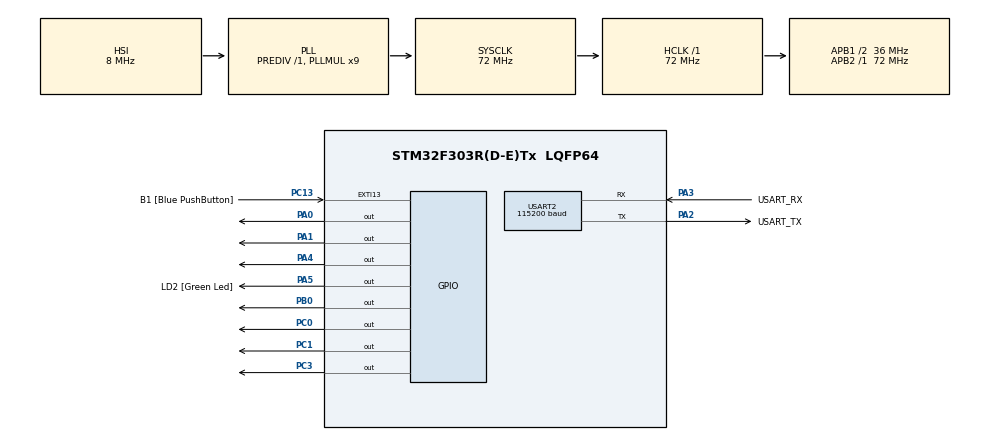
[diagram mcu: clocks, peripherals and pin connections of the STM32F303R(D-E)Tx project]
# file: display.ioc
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Mcu.Family=STM32F3
Mcu.Name=STM32F303R(D-E)Tx
Mcu.Package=LQFP64
NVIC.PriorityGroup=NVIC_PRIORITYGROUP_0
PA0.Signal=GPIO_Output
PA1.Signal=GPIO_Output
PA13.GPIO_Label=TMS
PA13.Mode=Serial_Wire
PA13.Signal=SYS_JTMS-SWDIO
PA14.GPIO_Label=TCK
PA14.Mode=Serial_Wire
PA14.Signal=SYS_JTCK-SWCLK
PA2.GPIO_Label=USART_TX
PA2.GPIO_Mode=GPIO_MODE_AF_PP
PA2.GPIO_PuPd=GPIO_NOPULL
PA2.GPIO_Speed=GPIO_SPEED_FREQ_LOW
PA2.Mode=Asynchronous
PA2.Signal=USART2_TX
PA3.GPIO_Label=USART_RX
PA3.GPIO_Mode=GPIO_MODE_AF_PP
PA3.GPIO_PuPd=GPIO_NOPULL
PA3.GPIO_Speed=GPIO_SPEED_FREQ_LOW
PA3.Mode=Asynchronous
PA3.Signal=USART2_RX
PA4.Signal=GPIO_Output
PA5.GPIO_Label=LD2 [Green Led]
PA5.GPIO_Mode=GPIO_MODE_OUTPUT_PP
PA5.GPIO_PuPd=GPIO_NOPULL
PA5.GPIO_Speed=GPIO_SPEED_FREQ_LOW
PA5.Signal=GPIO_Output
PB0.Signal=GPIO_Output
PB3.GPIO_Label=SWO
PB3.Signal=SYS_JTDO-TRACESWO
PC0.Signal=GPIO_Output
PC1.Signal=GPIO_Output
PC13.GPIO_Label=B1 [Blue PushButton]
PC13.GPIO_ModeDefaultEXTI=GPIO_MODE_IT_FALLING
PC13.Signal=GPXTI13
PC14-OSC32_IN.Mode=LSE-External-Oscillator
PC14-OSC32_IN.Signal=RCC_OSC32_IN
PC15-OSC32_OUT.Mode=LSE-External-Oscillator
PC15-OSC32_OUT.Signal=RCC_OSC32_OUT
PC3.Signal=GPIO_Output
PF0-OSC_IN.Mode=HSE-External-Clock-Source
PF0-OSC_IN.Signal=RCC_OSC_IN
PF1-OSC_OUT.Signal=RCC_OSC_OUT
ProjectManager.HeapSize=0x200
ProjectManager.StackSize=0x400
ProjectManager.TargetToolchain=STM32CubeIDE
RCC.AHBFreq_Value=72000000
RCC.APB1CLKDivider=RCC_HCLK_DIV2
RCC.APB1Freq_Value=36000000
RCC.APB1TimFreq_Value=72000000
RCC.APB2Freq_Value=72000000
RCC.APB2TimFreq_Value=72000000
RCC.CortexFreq_Value=72000000
RCC.HCLKFreq_Value=72000000
RCC.HSE_VALUE=8000000
RCC.HSI_VALUE=8000000
RCC.PLLM=8
RCC.PLLMUL=RCC_PLL_MUL9
RCC.PLLN=336
RCC.PLLP=RCC_PLLP_DIV4
RCC.PLLQ=7
RCC.RCC_PLLsource_Clock_Source_FROM_HSE=RCC_HSE_PREDIV_DIV2
RCC.SYSCLKFreq_VALUE=72000000
RCC.SYSCLKSourceVirtual=RCC_SYSCLKSOURCE_PLLCLK
RCC.USBFreq_Value=72000000
USART2.BaudRate=115200
USART2.VirtualMode-Asynchronous=VM_ASYNC
board=NUCLEO-F303RE

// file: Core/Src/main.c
/* USER CODE BEGIN Header */
/**
  ******************************************************************************
  * @file           : main.c
  * @brief          : Main program body
  ******************************************************************************
  * @attention
  *
  * Copyright (c) 2025 STMicroelectronics.
  * All rights reserved.
  *
  * This software is licensed under terms that can be found in the LICENSE file
  * in the root directory of this software component.
  * If no LICENSE file comes with this software, it is provided AS-IS.
  *
  ******************************************************************************
  */
/* USER CODE END Header */
#include "main.h"

/* USER CODE BEGIN Includes */
#include <string.h>
#include <stdio.h>
/* USER CODE END Includes */

/* USER CODE BEGIN PD */
// LCD command definitions:

// commands
#define LCD_CLEARDISPLAY	0x01
#define LCD_RETURNHOME		0x02
#define LCD_ENTRYMODESET	0x04
#define LCD_DISPLAYCONTROL	0x08
#define LCD_CURSORSHIFT		0x10
#define LCD_FUNCTIONSET		0x20
#define LCD_SETCGRAMADDR	0x40
#define LCD_SETDDRAMADDR	0x80

// flags for display entry mode
#define LCD_ENTRYRIGHT		0x00
#define LCD_ENTRYLEFT		0x02
#define LCD_ENTRYSHIFTINCREMENT 0x01
#define LCD_ENTRYSHIFTDECREMENT 0x00

// flags for display on/off control
#define LCD_DISPLAYON		0x04
#define LCD_DISPLAYOFF		0x00
#define LCD_CURSORON		0x02
#define LCD_CURSOROFF		0x00
#define LCD_BLINKON			0x01
#define LCD_BLINKOFF		0x00

// flags for display/cursor shift
#define LCD_DISPLAYMOVE		0x08
#define LCD_CURSORMOVE		0x00
#define LCD_MOVERIGHT		0x04
#define LCD_MOVELEFT		0x00

// flags for function set
#define LCD_8BITMODE		0x10
#define LCD_4BITMODE		0x00
#define LCD_2LINE			0x08
#define LCD_1LINE			0x00
#define LCD_5x10DOTS		0x04
#define LCD_5x8DOTS			0x00

#define NUMROWS				2
#define NUMCOLS				16

#define RS_PORT GPIOC
#define RS_PIN GPIO_PIN_0
#define RW_PORT GPIOC
#define RW_PIN GPIO_PIN_3
#define EN_PORT GPIOC
#define EN_PIN GPIO_PIN_1
#define D4_PORT GPIOB
#define D4_PIN GPIO_PIN_0
#define D5_PORT GPIOA
#define D5_PIN GPIO_PIN_4
#define D6_PORT GPIOA
#define D6_PIN GPIO_PIN_1
#define D7_PORT GPIOA
#define D7_PIN GPIO_PIN_0
/* USER CODE END PD */

UART_HandleTypeDef huart2;

void SystemClock_Config(void);
static void MX_GPIO_Init(void);
static void MX_USART2_UART_Init(void);
/* USER CODE BEGIN PFP */
void send_to_lcd (char data, int rs);
void lcd_send_cmd (char cmd);
void lcd_send_data (char data);
void lcd_put_cur(int row, int col);
void lcd_init (void);
void lcd_send_string (char *str);
/* USER CODE END PFP */

int main(void)
{

  /* MCU Configuration--------------------------------------------------------*/

  /* Reset of all peripherals, Initializes the Flash interface and the Systick. */
  HAL_Init();

  /* Configure the system clock */
  SystemClock_Config();

  /* Initialize all configured peripherals */
  MX_GPIO_Init();
  MX_USART2_UART_Init();
  /* USER CODE BEGIN 2 */
  HAL_GPIO_WritePin(RW_PORT, RW_PIN, GPIO_PIN_RESET);
  lcd_init();
  lcd_put_cur(0, 0);
  lcd_send_string("FAST GmbH");
  HAL_Delay(2000);
  lcd_put_cur(1, 0);
  lcd_send_string("Aqua M60 Testing");
  /* USER CODE END 2 */

  /* Infinite loop */
  while (1)
  {

    /* USER CODE BEGIN 3 */
	  HAL_GPIO_TogglePin(LD2_GPIO_Port, LD2_Pin);
	  HAL_Delay(500);

  }
  /* USER CODE END 3 */
}

void SystemClock_Config(void)
{
  RCC_OscInitTypeDef RCC_OscInitStruct = {0};
  RCC_ClkInitTypeDef RCC_ClkInitStruct = {0};
  RCC_PeriphCLKInitTypeDef PeriphClkInit = {0};

  /** Initializes the RCC Oscillators according to the specified parameters
  * in the RCC_OscInitTypeDef structure.
  */
  RCC_OscInitStruct.OscillatorType = RCC_OSCILLATORTYPE_HSI;
  RCC_OscInitStruct.HSIState = RCC_HSI_ON;
  RCC_OscInitStruct.HSICalibrationValue = RCC_HSICALIBRATION_DEFAULT;
  RCC_OscInitStruct.PLL.PLLState = RCC_PLL_ON;
  RCC_OscInitStruct.PLL.PLLSource = RCC_PLLSOURCE_HSI;
  RCC_OscInitStruct.PLL.PLLMUL = RCC_PLL_MUL9;
  RCC_OscInitStruct.PLL.PREDIV = RCC_PREDIV_DIV1;
  if (HAL_RCC_OscConfig(&RCC_OscInitStruct) != HAL_OK)
  {
    Error_Handler();
  }

  /** Initializes the CPU, AHB and APB buses clocks
  */
  RCC_ClkInitStruct.ClockType = RCC_CLOCKTYPE_HCLK|RCC_CLOCKTYPE_SYSCLK
                              |RCC_CLOCKTYPE_PCLK1|RCC_CLOCKTYPE_PCLK2;
  RCC_ClkInitStruct.SYSCLKSource = RCC_SYSCLKSOURCE_PLLCLK;
  RCC_ClkInitStruct.AHBCLKDivider = RCC_SYSCLK_DIV1;
  RCC_ClkInitStruct.APB1CLKDivider = RCC_HCLK_DIV2;
  RCC_ClkInitStruct.APB2CLKDivider = RCC_HCLK_DIV1;

  if (HAL_RCC_ClockConfig(&RCC_ClkInitStruct, FLASH_LATENCY_2) != HAL_OK)
  {
    Error_Handler();
  }
  PeriphClkInit.PeriphClockSelection = RCC_PERIPHCLK_USART2;
  PeriphClkInit.Usart2ClockSelection = RCC_USART2CLKSOURCE_PCLK1;
  if (HAL_RCCEx_PeriphCLKConfig(&PeriphClkInit) != HAL_OK)
  {
    Error_Handler();
  }
}

static void MX_USART2_UART_Init(void)
{

  huart2.Instance = USART2;
  huart2.Init.BaudRate = 115200;
  huart2.Init.WordLength = UART_WORDLENGTH_8B;
  huart2.Init.StopBits = UART_STOPBITS_1;
  huart2.Init.Parity = UART_PARITY_NONE;
  huart2.Init.Mode = UART_MODE_TX_RX;
  huart2.Init.HwFlowCtl = UART_HWCONTROL_NONE;
  huart2.Init.OverSampling = UART_OVERSAMPLING_16;
  huart2.Init.OneBitSampling = UART_ONE_BIT_SAMPLE_DISABLE;
  huart2.AdvancedInit.AdvFeatureInit = UART_ADVFEATURE_NO_INIT;
  if (HAL_UART_Init(&huart2) != HAL_OK)
  {
    Error_Handler();
  }

}

static void MX_GPIO_Init(void)
{
  GPIO_InitTypeDef GPIO_InitStruct = {0};

  /* GPIO Ports Clock Enable */
  __HAL_RCC_GPIOC_CLK_ENABLE();
  __HAL_RCC_GPIOF_CLK_ENABLE();
  __HAL_RCC_GPIOA_CLK_ENABLE();
  __HAL_RCC_GPIOB_CLK_ENABLE();

  /*Configure GPIO pin Output Level */
  HAL_GPIO_WritePin(GPIOC, GPIO_PIN_0|GPIO_PIN_1|GPIO_PIN_3, GPIO_PIN_RESET);

  /*Configure GPIO pin Output Level */
  HAL_GPIO_WritePin(GPIOA, GPIO_PIN_0|GPIO_PIN_1|GPIO_PIN_4|LD2_Pin, GPIO_PIN_RESET);

  /*Configure GPIO pin Output Level */
  HAL_GPIO_WritePin(GPIOB, GPIO_PIN_0, GPIO_PIN_RESET);

  /*Configure GPIO pin : B1_Pin */
  GPIO_InitStruct.Pin = B1_Pin;
  GPIO_InitStruct.Mode = GPIO_MODE_IT_FALLING;
  GPIO_InitStruct.Pull = GPIO_NOPULL;
  HAL_GPIO_Init(B1_GPIO_Port, &GPIO_InitStruct);

  /*Configure GPIO pins : PC0 PC1 PC3 */
  GPIO_InitStruct.Pin = GPIO_PIN_0|GPIO_PIN_1|GPIO_PIN_3;
  GPIO_InitStruct.Mode = GPIO_MODE_OUTPUT_PP;
  GPIO_InitStruct.Pull = GPIO_NOPULL;
  GPIO_InitStruct.Speed = GPIO_SPEED_FREQ_LOW;
  HAL_GPIO_Init(GPIOC, &GPIO_InitStruct);

  /*Configure GPIO pins : PA0 PA1 PA4 LD2_Pin */
  GPIO_InitStruct.Pin = GPIO_PIN_0|GPIO_PIN_1|GPIO_PIN_4|LD2_Pin;
  GPIO_InitStruct.Mode = GPIO_MODE_OUTPUT_PP;
  GPIO_InitStruct.Pull = GPIO_NOPULL;
  GPIO_InitStruct.Speed = GPIO_SPEED_FREQ_LOW;
  HAL_GPIO_Init(GPIOA, &GPIO_InitStruct);

  /*Configure GPIO pin : PB0 */
  GPIO_InitStruct.Pin = GPIO_PIN_0;
  GPIO_InitStruct.Mode = GPIO_MODE_OUTPUT_PP;
  GPIO_InitStruct.Pull = GPIO_NOPULL;
  GPIO_InitStruct.Speed = GPIO_SPEED_FREQ_LOW;
  HAL_GPIO_Init(GPIOB, &GPIO_InitStruct);

}

/* USER CODE BEGIN 4 */
void send_to_lcd (char data, int rs)
{
    HAL_GPIO_WritePin(RS_PORT, RS_PIN, rs);  // rs = 1 for data, rs=0 for command
    /* write the data to the respective pin */
    HAL_GPIO_WritePin(D7_PORT, D7_PIN, ((data>>3)&0x01));
    HAL_GPIO_WritePin(D6_PORT, D6_PIN, ((data>>2)&0x01));
    HAL_GPIO_WritePin(D5_PORT, D5_PIN, ((data>>1)&0x01));
    HAL_GPIO_WritePin(D4_PORT, D4_PIN, ((data>>0)&0x01));

    /* Toggle EN PIN to send the data
     * if the HCLK > 100 MHz, use the  20 us delay
     * if the LCD still doesn't work, increase the delay to 50, 80 or 100..
     */
    HAL_GPIO_WritePin(EN_PORT, EN_PIN, 0);
    HAL_Delay(10);
    HAL_GPIO_WritePin(EN_PORT, EN_PIN, 1);
    HAL_Delay(10);
    HAL_GPIO_WritePin(EN_PORT, EN_PIN, 0);
    HAL_Delay(10);
}

void lcd_send_cmd (char cmd)
{
    char datatosend;
    /* send upper nibble first */
    datatosend = ((cmd>>4)&0x0f);
    send_to_lcd(datatosend,0);  // RS must be 0 while sending command
    /* send Lower Nibble */
    datatosend = ((cmd)&0x0f);
    send_to_lcd(datatosend, 0);
}

void lcd_send_data (char data)
{
    char datatosend;

    /* send higher nibble */
    datatosend = ((data>>4)&0x0f);
    send_to_lcd(datatosend, 1);  // rs =1 for sending data
    /* send Lower nibble */
    datatosend = ((data)&0x0f);
    send_to_lcd(datatosend, 1);
}

void lcd_put_cur(int row, int col)
{
    switch (row)
    {
        case 0:
            col |= 0x80;
            break;
        case 1:
            col |= 0xC0;
            break;
    }
    lcd_send_cmd (col);
    lcd_send_cmd (row);
}

void lcd_init (void)
{
    // 4 bit initialisation
	HAL_GPIO_WritePin(RS_PORT, RS_PIN, 0);
    HAL_Delay(500);
    lcd_send_cmd (0x03);
    HAL_Delay(5);
    lcd_send_cmd (0x03);
    HAL_Delay(5);
    lcd_send_cmd (0x03);
    HAL_Delay(5);
    lcd_send_cmd (0x02);		// 4bit mode
    HAL_Delay(10);
    lcd_send_cmd (0x28);		// Function set --> DL=0 (4 bit mode), N = 1 (2 line display) F = 0 (5x8 characters)
    HAL_Delay(10);
    lcd_send_cmd (0x01);		// clear display
    HAL_Delay(10);
    lcd_send_cmd (0x0E);
    HAL_Delay(10);
    lcd_send_cmd (0x06);		//Entry mode set --> I/D = 1 (increment cursor) & S = 0 (no shift)

  // dislay initialisation

}

void lcd_send_string (char *str)
{
  while (*str) lcd_send_data (*str++);
}
/* USER CODE END 4 */

void Error_Handler(void)
{
  __disable_irq();
  while (1)
  {
  }
}
